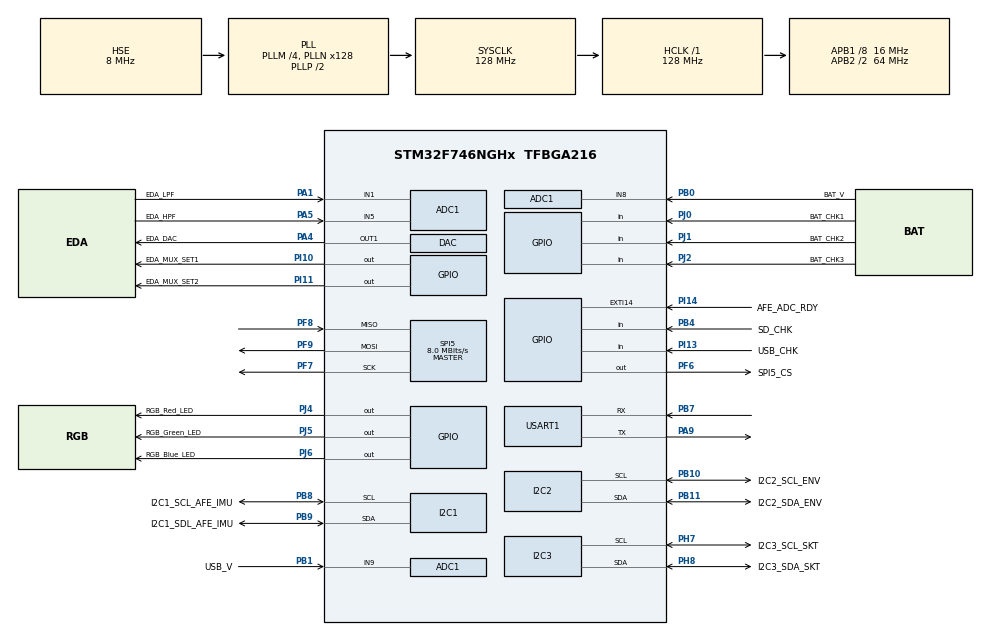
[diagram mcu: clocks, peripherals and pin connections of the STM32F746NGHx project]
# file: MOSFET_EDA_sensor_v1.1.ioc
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ADC1.Channel-0\#ChannelRegularConversion=ADC_CHANNEL_9
ADC1.Channel-1\#ChannelRegularConversion=ADC_CHANNEL_8
ADC1.Channel-2\#ChannelRegularConversion=ADC_CHANNEL_1
ADC1.Channel-3\#ChannelRegularConversion=ADC_CHANNEL_5
ADC1.ClockPrescaler=ADC_CLOCK_SYNC_PCLK_DIV4
ADC1.DMAContinuousRequests=ENABLE
ADC1.NbrOfConversion=4
ADC1.NbrOfConversionFlag=1
ADC1.Rank-0\#ChannelRegularConversion=1
ADC1.Rank-1\#ChannelRegularConversion=2
ADC1.Rank-2\#ChannelRegularConversion=3
ADC1.Rank-3\#ChannelRegularConversion=4
ADC1.SamplingTime-0\#ChannelRegularConversion=ADC_SAMPLETIME_84CYCLES
ADC1.SamplingTime-1\#ChannelRegularConversion=ADC_SAMPLETIME_84CYCLES
ADC1.SamplingTime-2\#ChannelRegularConversion=ADC_SAMPLETIME_84CYCLES
ADC1.SamplingTime-3\#ChannelRegularConversion=ADC_SAMPLETIME_84CYCLES
ADC1.ScanConvMode=ADC_SCAN_ENABLE
ADC1.master=1
Dma.ADC1.0.Direction=DMA_PERIPH_TO_MEMORY
Dma.ADC1.0.FIFOMode=DMA_FIFOMODE_DISABLE
Dma.ADC1.0.Instance=DMA2_Stream0
Dma.ADC1.0.MemDataAlignment=DMA_MDATAALIGN_HALFWORD
Dma.ADC1.0.MemInc=DMA_MINC_ENABLE
Dma.ADC1.0.Mode=DMA_CIRCULAR
Dma.ADC1.0.PeriphDataAlignment=DMA_PDATAALIGN_HALFWORD
Dma.ADC1.0.PeriphInc=DMA_PINC_DISABLE
Dma.ADC1.0.Priority=DMA_PRIORITY_LOW
Dma.Request0=ADC1
FATFS._MAX_SS=4096
FATFS._USE_LFN=1
Mcu.Family=STM32F7
Mcu.Name=STM32F746NGHx
Mcu.Package=TFBGA216
NVIC.ADC_IRQn=true\:0\:0\:false\:false\:true\:true\:true\:true
NVIC.DMA2_Stream0_IRQn=true\:0\:0\:false\:false\:true\:false\:true\:true
NVIC.PriorityGroup=NVIC_PRIORITYGROUP_4
NVIC.TIM3_IRQn=true\:0\:0\:false\:false\:true\:true\:true\:true
PA1.GPIO_Label=EDA_LPF
PA1.Signal=ADCx_IN1
PA13.Mode=Serial_Wire
PA13.Signal=SYS_JTMS-SWDIO
PA14.Mode=Serial_Wire
PA14.Signal=SYS_JTCK-SWCLK
PA4.GPIO_Label=EDA_DAC
PA4.Signal=COMP_DAC1_group
PA5.GPIO_Label=EDA_HPF
PA5.Signal=ADCx_IN5
PA9.Mode=Asynchronous
PA9.Signal=USART1_TX
PB0.GPIO_Label=BAT_V
PB0.Signal=ADCx_IN8
PB1.GPIO_Label=USB_V
PB1.Signal=ADCx_IN9
PB10.GPIO_Label=I2C2_SCL_ENV
PB10.Mode=I2C
PB10.Signal=I2C2_SCL
PB11.GPIO_Label=I2C2_SDA_ENV
PB11.Mode=I2C
PB11.Signal=I2C2_SDA
PB4.GPIO_Label=SD_CHK
PB4.Signal=GPIO_Input
PB7.Mode=Asynchronous
PB7.Signal=USART1_RX
PB8.GPIO_Label=I2C1_SCL_AFE_IMU
PB8.Mode=I2C
PB8.Signal=I2C1_SCL
PB9.GPIO_Label=I2C1_SDL_AFE_IMU
PB9.Mode=I2C
PB9.Signal=I2C1_SDA
PF6.GPIO_Label=SPI5_CS
PF6.PinState=GPIO_PIN_SET
PF6.Signal=GPIO_Output
PF7.Mode=Full_Duplex_Master
PF7.Signal=SPI5_SCK
PF8.Mode=Full_Duplex_Master
PF8.Signal=SPI5_MISO
PF9.Mode=Full_Duplex_Master
PF9.Signal=SPI5_MOSI
PH0/OSC_IN.Mode=HSE-External-Oscillator
PH0/OSC_IN.Signal=RCC_OSC_IN
PH1/OSC_OUT.Mode=HSE-External-Oscillator
PH1/OSC_OUT.Signal=RCC_OSC_OUT
PH7.GPIO_Label=I2C3_SCL_SKT
PH7.Mode=I2C
PH7.Signal=I2C3_SCL
PH8.GPIO_Label=I2C3_SDA_SKT
PH8.Mode=I2C
PH8.Signal=I2C3_SDA
PI10.GPIO_Label=EDA_MUX_SET1
PI10.Signal=GPIO_Output
PI11.GPIO_Label=EDA_MUX_SET2
PI11.Signal=GPIO_Output
PI13.GPIO_Label=USB_CHK
PI13.Signal=GPIO_Input
PI14.GPIO_Label=AFE_ADC_RDY
PI14.Signal=GPXTI14
PJ0.GPIO_Label=BAT_CHK1
PJ0.Signal=GPIO_Input
PJ1.GPIO_Label=BAT_CHK2
PJ1.Signal=GPIO_Input
PJ2.GPIO_Label=BAT_CHK3
PJ2.Signal=GPIO_Input
PJ4.GPIO_Label=RGB_Red_LED
PJ4.PinState=GPIO_PIN_SET
PJ4.Signal=GPIO_Output
PJ5.GPIO_Label=RGB_Green_LED
PJ5.PinState=GPIO_PIN_SET
PJ5.Signal=GPIO_Output
PJ6.GPIO_Label=RGB_Blue_LED
PJ6.PinState=GPIO_PIN_SET
PJ6.Signal=GPIO_Output
ProjectManager.HeapSize=0x200
ProjectManager.StackSize=0x400
ProjectManager.TargetToolchain=STM32CubeIDE
RCC.AHBFreq_Value=128000000
RCC.APB1CLKDivider=RCC_HCLK_DIV8
RCC.APB1Freq_Value=16000000
RCC.APB1TimFreq_Value=32000000
RCC.APB2CLKDivider=RCC_HCLK_DIV2
RCC.APB2Freq_Value=64000000
RCC.APB2TimFreq_Value=128000000
RCC.CortexFreq_Value=128000000
RCC.HCLKFreq_Value=128000000
RCC.HSE_VALUE=8000000
RCC.HSI_VALUE=16000000
RCC.LSE_VALUE=32768
RCC.PLLM=4
RCC.PLLN=128
RCC.PLLSourceVirtual=RCC_PLLSOURCE_HSE
RCC.SYSCLKFreq_VALUE=128000000
RCC.SYSCLKSource=RCC_SYSCLKSOURCE_PLLCLK
RCC.USART1CLockSelection=RCC_USART1CLKSOURCE_HSI
RCC.USBFreq_Value=128000000
RCC.VCOOutputFreq_Value=256000000
SH.ADCx_IN1.0=ADC1_IN1,IN1
SH.ADCx_IN5.0=ADC1_IN5,IN5
SH.ADCx_IN8.0=ADC1_IN8,IN8
SH.ADCx_IN9.0=ADC1_IN9,IN9
SH.COMP_DAC1_group.0=DAC_OUT1,DAC_OUT1
SPI5.BaudRatePrescaler=SPI_BAUDRATEPRESCALER_8
SPI5.CalculateBaudRate=8.0 MBits/s
SPI5.Direction=SPI_DIRECTION_2LINES
SPI5.Mode=SPI_MODE_MASTER
SPI5.VirtualType=VM_MASTER
TIM3.Period=249
TIM3.Prescaler=1000
USART1.VirtualMode-Asynchronous=VM_ASYNC
VP_FATFS_VS_Generic.Mode=User_defined
VP_TIM3_VS_ClockSourceINT.Mode=Internal
board=custom

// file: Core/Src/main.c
/* USER CODE BEGIN Header */
/**
  ******************************************************************************
  * @file           : main.c
  * @brief          : Main program body
  ******************************************************************************
  * @attention
  *
  * Copyright (c) 2024 STMicroelectronics.
  * All rights reserved.
  *
  * This software is licensed under terms that can be found in the LICENSE file
  * in the root directory of this software component.
  * If no LICENSE file comes with this software, it is provided AS-IS.
  *
  ******************************************************************************
  */
/* USER CODE END Header */
#include "main.h"
#include "adc.h"
#include "dac.h"
#include "dma.h"
#include "fatfs.h"
#include "i2c.h"
#include "spi.h"
#include "tim.h"
#include "usart.h"
#include "gpio.h"

/* USER CODE BEGIN Includes */
#include "fatfs_sd.h"
#include "string.h"
/* USER CODE END Includes */

/* USER CODE BEGIN PV */
float ms = 0;
uint8_t sec = 0;
uint16_t min = 0;
uint16_t ms_idx = 0;

uint8_t Hz = 128;
/* USER CODE END PV */

void SystemClock_Config(void);

/* USER CODE BEGIN 0 */
FATFS fs;		// file system
FIL fil;		// file
FRESULT fresult;	// to store the result
char buffer[1024];

UINT br, bw;		// file read/write count

/* capacity related variables */
FATFS *pfs;
DWORD fre_clust;
uint32_t total, free_space;

/* to send the data to the uart */
//void send_urat (char * string)
//{
//	uint8_t len = strlen (string);
//	HAL_UART_Transmit(&huart1, (uint8_t *) string, len, 2000);		// transmit in blocking mode
//}

/* to find the size of data in the buffer */
int bufsize(char *buf)
{
	int i=0;
	while(*buf != '\0')
	{
		i++;
	}
	return i;
}

void bufclear (void)
{
	for (int i=0; i<1024; i++)
	{
		buffer[i] = '\0';
	}
}
/* USER CODE END 0 */

int main(void)
{
  /* USER CODE BEGIN 1 */
	uint8_t SD_card_state = 0;
  /* USER CODE END 1 */

  /* MCU Configuration--------------------------------------------------------*/

  /* Reset of all peripherals, Initializes the Flash interface and the Systick. */
  HAL_Init();

  /* Configure the system clock */
  SystemClock_Config();

  /* Initialize all configured peripherals */
  MX_GPIO_Init();
  MX_DMA_Init();
  MX_SPI5_Init();
  MX_FATFS_Init();
  MX_ADC1_Init();
  MX_DAC_Init();
  MX_I2C1_Init();
  MX_I2C2_Init();
  MX_I2C3_Init();
  MX_TIM3_Init();
  MX_USART1_UART_Init();
  /* USER CODE BEGIN 2 */

  /* Mount SD card */
  fresult = f_mount(&fs, "", 0);
  if (fresult != FR_OK)
  {
	  printf("error in mounting SD CARD...\r\n");
  }
  else
  {
	  printf("SD CARD mounted successfully...\r\n");
  }

  /***************** Card capacity details *****************/

  /* Check free space */
  f_getfree("", &fre_clust, &pfs);

  total = (uint32_t)((pfs->n_fatent -2) * pfs->csize * 0.5);
  sprintf(buffer, "SD CARD Total Size : \t%lu\r\n", total);
  printf(buffer);
  bufclear();
  free_space = (uint32_t)(fre_clust * pfs->csize * 0.5);
  sprintf (buffer, "SD CARD Free Space : \t%lu\r\n", free_space);
  printf(buffer);

  /***************** The following operation is using PUTs and GETs ********************/

  /* Open file to write/create a file if it doesn't exist */
  fresult = f_open(&fil, "file1.txt", FA_OPEN_ALWAYS | FA_READ | FA_WRITE);

  /* Writing text */
  fresult = f_puts("This data is from the First FILE\n\n", &fil);

  printf("file1.txt created and the data is written \n");

  /* Close file */
  fresult = f_close(&fil);

  /* Open file to read */
  fresult = f_open(&fil, "file1.txt", FA_READ);

  /* Read string from the file */
  f_gets(buffer, sizeof(buffer), &fil);

  printf(buffer);

  /* Close file */
  f_close(&fil);

  bufclear();

//  HAL_TIM_Base_Start_IT(&htim3);

  /* USER CODE END 2 */

  /* Infinite loop */
  while (1)
  {

  }
}

void SystemClock_Config(void)
{
  RCC_OscInitTypeDef RCC_OscInitStruct = {0};
  RCC_ClkInitTypeDef RCC_ClkInitStruct = {0};

  /** Configure the main internal regulator output voltage
  */
  __HAL_RCC_PWR_CLK_ENABLE();
  __HAL_PWR_VOLTAGESCALING_CONFIG(PWR_REGULATOR_VOLTAGE_SCALE3);

  /** Initializes the RCC Oscillators according to the specified parameters
  * in the RCC_OscInitTypeDef structure.
  */
  RCC_OscInitStruct.OscillatorType = RCC_OSCILLATORTYPE_HSI|RCC_OSCILLATORTYPE_HSE;
  RCC_OscInitStruct.HSEState = RCC_HSE_ON;
  RCC_OscInitStruct.HSIState = RCC_HSI_ON;
  RCC_OscInitStruct.HSICalibrationValue = RCC_HSICALIBRATION_DEFAULT;
  RCC_OscInitStruct.PLL.PLLState = RCC_PLL_ON;
  RCC_OscInitStruct.PLL.PLLSource = RCC_PLLSOURCE_HSE;
  RCC_OscInitStruct.PLL.PLLM = 4;
  RCC_OscInitStruct.PLL.PLLN = 128;
  RCC_OscInitStruct.PLL.PLLP = RCC_PLLP_DIV2;
  RCC_OscInitStruct.PLL.PLLQ = 2;
  if (HAL_RCC_OscConfig(&RCC_OscInitStruct) != HAL_OK)
  {
    Error_Handler();
  }

  /** Initializes the CPU, AHB and APB buses clocks
  */
  RCC_ClkInitStruct.ClockType = RCC_CLOCKTYPE_HCLK|RCC_CLOCKTYPE_SYSCLK
                              |RCC_CLOCKTYPE_PCLK1|RCC_CLOCKTYPE_PCLK2;
  RCC_ClkInitStruct.SYSCLKSource = RCC_SYSCLKSOURCE_PLLCLK;
  RCC_ClkInitStruct.AHBCLKDivider = RCC_SYSCLK_DIV1;
  RCC_ClkInitStruct.APB1CLKDivider = RCC_HCLK_DIV8;
  RCC_ClkInitStruct.APB2CLKDivider = RCC_HCLK_DIV2;

  if (HAL_RCC_ClockConfig(&RCC_ClkInitStruct, FLASH_LATENCY_4) != HAL_OK)
  {
    Error_Handler();
  }
}

/* USER CODE BEGIN 4 */
int _write(int32_t file, uint8_t *ptr, int32_t len)
{
    HAL_UART_Transmit(&huart1, ptr, len, 10);

	return len;
}
void HAL_TIM_PeriodElapsedCallback(TIM_HandleTypeDef *htim)
{
	if(htim->Instance == TIM3)
	{
		ms = (float)ms_idx/Hz;

		printf("%dm %.3fs\r\n", min, sec+ms);
		if(ms_idx >= Hz)
		{

			ms_idx = 0;

			sec++;

			if(sec >= 60)
			{
				sec = 0;
				min++;
			}
		}
		ms_idx++;

	}
}
/* USER CODE END 4 */

void Error_Handler(void)
{
  __disable_irq();
  while (1)
  {
  }
}
